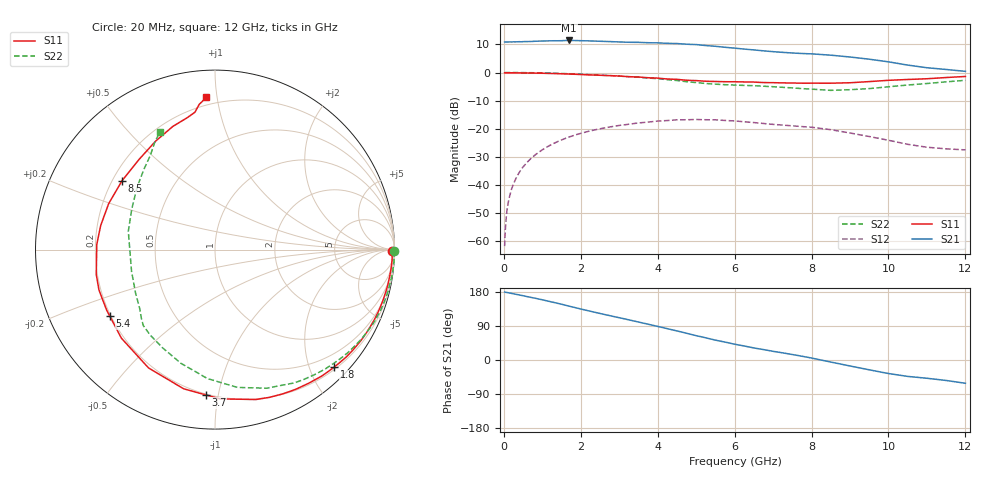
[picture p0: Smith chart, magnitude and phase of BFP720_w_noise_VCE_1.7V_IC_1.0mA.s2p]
! Infineon Technologies  Discrete & RF Semiconductors
! BFP720
! VCE =  1.7 V,  IC =  1.0 mA
! Common Emitter S-Parameters:  Aug 2012
# GHz  S  MA  R  50
!  f  S11  S21  S12  S22
! GHz  MAG  ANG  MAG  ANG  MAG  ANG  MAG  ANG
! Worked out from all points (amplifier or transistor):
!   104 points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, 20 MHz to 12 GHz, reference 50 ohm
!   highest |S21| = 11.4 dB at 1.7 GHz (marker M1)
!   |S21| within 3 dB of that: start of sweep to 6.192 GHz
!   unconditionally stable (mu >= 1): 8.382 GHz to end of sweep
!   at 350 MHz: K = 0.00, MSG = 23.9 dB, |S12| = -36.8 dB
!   at 3.7 GHz: K = 0.25, MSG = 14.2 dB, |S12| = -17.7 dB
!   at 12 GHz: K = 1.01, MAG = 13.3 dB, |S12| = -27.6 dB
!   lowest NFmin = 0.50 dB at 450 MHz
!   S11 on the Smith chart (normalised r, x): 20 MHz: open; 1.8 GHz: 0.24, -2.41; 3.7 GHz: 0.19, -0.92; 5.4 GHz: 0.20, -0.28; 8.5 GHz: 0.24, +0.31; 12 GHz: 0.15, +0.93
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0.02  0.9879 -0.4  3.497 179.3  0.0008 84.4  0.9996 -0.4
0.06  0.9879 -1.4  3.502 178.5  0.0025 85.6  0.9986 -1.2
0.12  0.9878 -2.7  3.503 177.4  0.005 87.7  0.9992 -2.3
0.2  0.9875 -4.5  3.508 175.8  0.0083 87.2  0.9989 -3.8
0.4  0.9843 -9.2  3.546 171.7  0.0165 83.2  0.9966 -7.6
1.1  0.9661 -26.2  3.657 156.5  0.0461 70.0  0.9802 -21.3
1.7  0.9378 -42.1  3.728 142.0  0.0708 57.4  0.9491 -33.5
1.8  0.9326 -44.7  3.719 139.6  0.0747 55.2  0.943 -35.6
2.1  0.9146 -52.5  3.678 132.2  0.0857 48.7  0.9233 -41.6
2.8  0.8771 -69.9  3.551 116.0  0.1082 34.3  0.8774 -55.4
3.7  0.811 -93.7  3.407 95.6  0.1297 16.1  0.8019 -73.9
4.1  0.782 -105.9  3.349 86.3  0.1373 8.1  0.7634 -83.1
4.5  0.7562 -119.3  3.286 76.7  0.1433 -0.0  0.7201 -93.3
5  0.718 -136.6  3.149 64.2  0.1455 -10.7  0.6617 -106.6
5.4  0.6935 -147.8  2.969 54.9  0.1433 -18.7  0.626 -115.8
6.1  0.6819 -162.3  2.677 39.8  0.135 -31.3  0.5936 -128.5
7  0.6592 177.4  2.354 22.9  0.1188 -44.0  0.558 -137.5
8  0.6454 156.6  2.151 5.2  0.1056 -55.9  0.5051 -151.1
8.5  0.6446 143.4  2.037 -5.4  0.0956 -62.9  0.4803 -165.5
9.5  0.6886 118.8  1.727 -25.9  0.0722 -71.0  0.5161 153.9
10.5  0.7509 101.9  1.356 -43.3  0.0524 -71.0  0.598 131.4
12  0.8497 93.2  1.049 -61.4  0.0417 -56.3  0.7259 115.0
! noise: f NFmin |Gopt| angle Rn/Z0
0.45  0.5  0.77  6  0.47
1.8  0.64  0.73  31  0.38
2.4  0.76  0.64  82  0.29
5.5  1.17  0.53  99  0.14
10  1.87  0.55  -118  0.28
